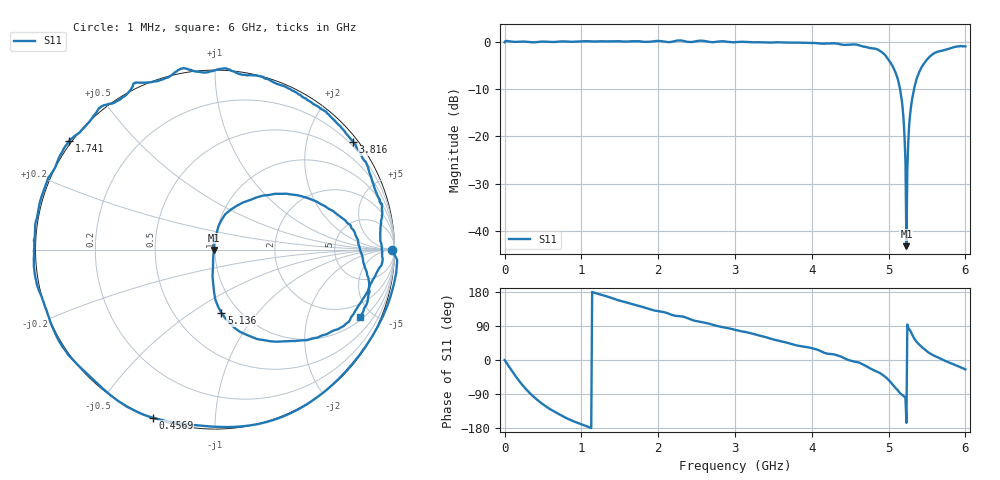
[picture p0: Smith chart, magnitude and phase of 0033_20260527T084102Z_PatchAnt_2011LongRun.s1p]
# Hz S RI R 50
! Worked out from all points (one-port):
!   501 points, 1 MHz to 6 GHz, reference 50 ohm
!   lowest |S11| = -43.2 dB at 5.232 GHz (marker M1), VSWR 1.01, Z = 49.3 - j0.166 ohm
!   |S11| at or under -10 dB: 5.149 GHz to 5.332 GHz (182.5 MHz wide, 3.48 % of centre)
!   S11 on the Smith chart (normalised r, x): 1 MHz: open; 456.9 MHz: 0.00, -0.70; 1.741 GHz: -0.01, +0.33; 3.816 GHz: 0.12, +2.91; 5.136 GHz: 0.83, -0.67; 6 GHz: 1.17, -4.25
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1000000  0.9883 -0.00395
8.4986e7  0.9058 -0.4314
2.28962e8  0.4215 -0.9112
3.12948e8  0.1025 -0.9879
4.56924e8  -0.3468 -0.9363
7.56874e8  -0.8559 -0.5313
1.068822e9  -1.009 -0.0902
1.50075e9  -0.9273 0.4038
1.74071e9  -0.8116 0.6056
2.256624e9  -0.4545 0.925
3.0005e9  0.1767 0.9708
3.756374e9  0.7367 0.64
3.816364e9  0.7692 0.5986
4.308282e9  0.9295 0.2297
4.50025e9  0.9311 -0.0209
4.86019e9  0.7002 -0.4341
5.028162e9  0.3083 -0.5106
5.136144e9  0.0358 -0.353
5.184136e9  -0.00971 -0.1946
5.196134e9  -0.0138 -0.1462
5.208132e9  -0.0113 -0.0964
5.232128e9  -0.00671 -0.00168
5.256124e9  0.0077 0.0865
5.268122e9  0.0194 0.1309
5.304116e9  0.09 0.224
5.412098e9  0.3967 0.3114
5.628062e9  0.7716 0.1079
6e9  0.8091 -0.3733
